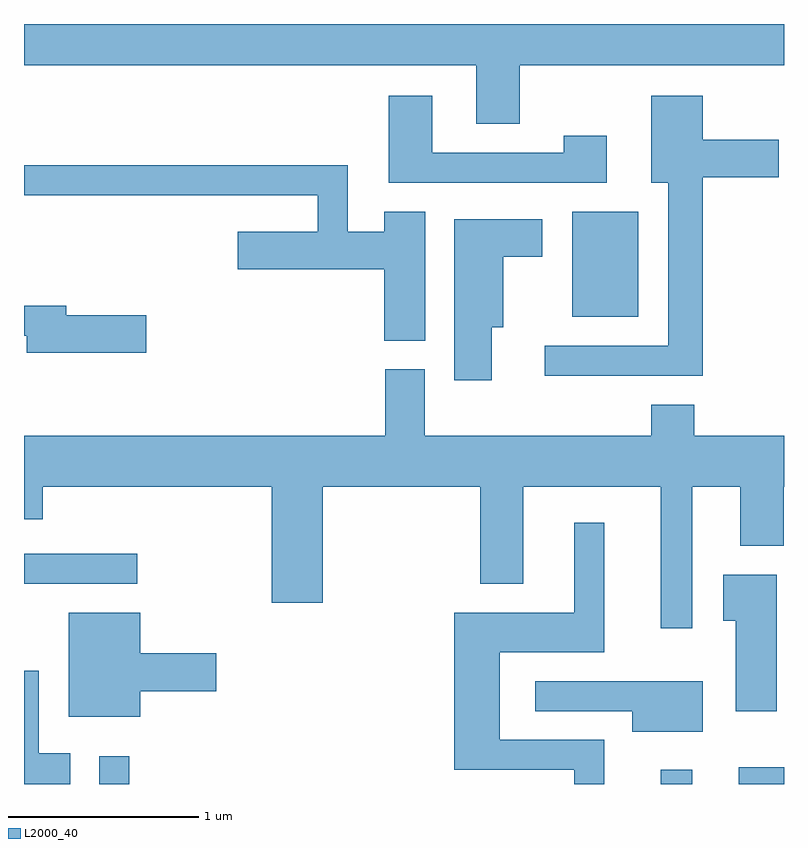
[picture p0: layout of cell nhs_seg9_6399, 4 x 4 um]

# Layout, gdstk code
import gdstk
lib = gdstk.Library(unit=1e-6, precision=1e-09)
def R(c, l, rs):  # rectangles x0, y0, x1, y1
    for r in rs: c.add(gdstk.rectangle(r[:2], r[2:], *l))
def P(c, l, *ps):  # polygons
    for p in ps: c.add(gdstk.Polygon(p, *l))
L2000_40 = (2000, 40)

nhs_seg9_6399 = lib.new_cell('nhs_seg9_6399')
R(nhs_seg9_6399, L2000_40, [(374.006,2032.432,374.164,2032.578), (376.961,2032.432,377.129,2032.508), (377.373,2032.432,377.611,2032.519), (373.611,2033.486,374.208,2033.644), (376.496,2034.891,376.844,2035.444)])
P(nhs_seg9_6399, L2000_40, [(376.219,2036.216),(377.611,2036.216),(377.611,2036.432),(373.611,2036.432),(373.611,2036.216),(375.991,2036.216),(375.991,2035.906),(376.219,2035.906)],
  [(377.184,2035.626),(377.584,2035.626),(377.584,2035.824),(377.184,2035.824),(377.184,2036.054),(376.911,2036.054),(376.911,2035.596),(377.001,2035.596),(377.001,2034.739),(376.353,2034.739),(376.353,2034.581),(377.184,2034.581)],
  [(376.679,2035.844),(376.451,2035.844),(376.451,2035.754),(375.759,2035.754),(375.759,2036.054),(375.531,2036.054),(375.531,2035.596),(376.679,2035.596)],
  [(375.724,2035.444),(375.506,2035.444),(375.506,2035.339),(375.314,2035.339),(375.314,2035.689),(373.611,2035.689),(373.611,2035.531),(375.156,2035.531),(375.156,2035.339),(374.736,2035.339),(374.736,2035.141),(375.506,2035.141),(375.506,2034.766),(375.724,2034.766)],
  [(376.074,2034.836),(376.134,2034.836),(376.134,2035.206),(376.339,2035.206),(376.339,2035.404),(375.876,2035.404),(375.876,2034.556),(376.074,2034.556)],
  [(374.254,2034.899),(373.834,2034.899),(373.834,2034.949),(373.611,2034.949),(373.611,2034.791),(373.626,2034.791),(373.626,2034.701),(374.254,2034.701)],
  [(377.129,2033.996),(377.381,2033.996),(377.381,2033.686),(377.609,2033.686),(377.609,2033.996),(377.611,2033.996),(377.611,2034.264),(377.139,2034.264),(377.139,2034.429),(376.911,2034.429),(376.911,2034.264),(375.719,2034.264),(375.719,2034.614),(375.511,2034.614),(375.511,2034.264),(373.611,2034.264),(373.611,2033.826),(373.709,2033.826),(373.709,2033.996),(374.916,2033.996),(374.916,2033.386),(375.184,2033.386),(375.184,2033.996),(376.011,2033.996),(376.011,2033.486),(376.239,2033.486),(376.239,2033.996),(376.961,2033.996),(376.961,2033.253),(377.129,2033.253)],
  [(376.664,2032.664),(376.114,2032.664),(376.114,2033.126),(376.664,2033.126),(376.664,2033.808),(376.506,2033.808),(376.506,2033.334),(375.876,2033.334),(375.876,2032.506),(376.506,2032.506),(376.506,2032.432),(376.664,2032.432)],
  [(377.574,2033.534),(377.291,2033.534),(377.291,2033.291),(377.356,2033.291),(377.356,2032.816),(377.574,2032.816)],
  [(374.224,2032.921),(374.624,2032.921),(374.624,2033.119),(374.224,2033.119),(374.224,2033.334),(373.846,2033.334),(373.846,2032.786),(374.224,2032.786)],
  [(373.854,2032.594),(373.689,2032.594),(373.689,2033.029),(373.611,2033.029),(373.611,2032.432),(373.854,2032.432)],
  [(377.184,2032.974),(376.303,2032.974),(376.303,2032.816),(376.811,2032.816),(376.811,2032.706),(377.184,2032.706)])

lib.write_gds('nhs_seg9_6399.gds')
